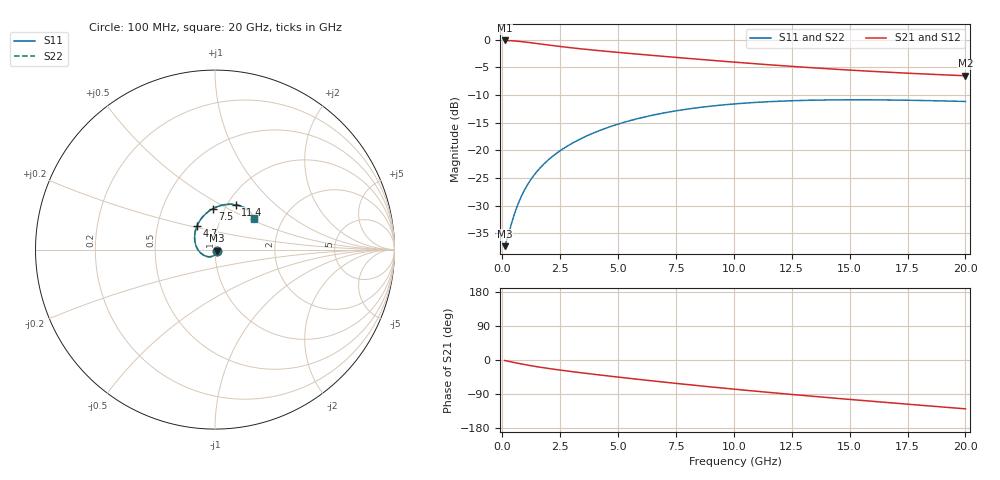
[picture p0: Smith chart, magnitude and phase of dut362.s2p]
! Touchstone file exported from HFSS 2024.1.0
!  File:  C:/UserFiles/LocalFiles/RDL_TSV_Batchsim/temp_RDL_TSV_362_1779640603.aedt
!  Generated:  12:50:28 AM May 25, 2026
!  Design:  RDL_TSV
!  Project:  temp_RDL_TSV_362_1779640603
!  Setup:  Setup1
!  Solution:  Sweep
! Variables:
!  dtsv = 14.7um
!  hbump = 3um
!  htsv = 75.14um
!  ldown = 240.58um
!  lrdl = 135.8um
!  p = 40
!  p1 = 44.02um
!  rhole = 10um
!  subl = 1264.94um
!  t = 450um
!  tdown = 4.21um
!  trdl = 2.51um
!  viad = 10um
!  wdown = 10.22um
!  wrdl = 11.6um
!  xbump = 18um
# GHz S MA R 50.000000
! Terminal data exported
! Port[1] = TM1_1_T1
! Port[2] = TM1_4_T1
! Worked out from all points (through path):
!   200 points, 100 MHz to 20 GHz, reference 50 ohm
!   highest |S21| = -0.12 dB at 100 MHz (marker M1); lowest = -6.5 dB at 20 GHz (marker M2)
!   group delay of S21, straight-line fit = 16.8 ps
!   lowest |S11| = -37.4 dB at 100 MHz (marker M3), VSWR 1.03, Z = 51.3 - j0.552 ohm
!   |S11| at or under -10 dB: start of sweep to end of sweep
!   |S22| runs from -37.4 to -10.8 dB; largest |S21 - S12| = 1.8e-13
!   S11 on the Smith chart (normalised r, x): 100 MHz: 1.03, -0.01; 4.7 GHz: 0.79, +0.21; 7.5 GHz: 0.88, +0.42; 11.4 GHz: 1.09, +0.59; 20 GHz: 1.43, +0.54
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0.1  0.01355 -23.4  0.9867 -1.3  0.9867 -1.3  0.01355 -23.4
! Gamma 0 0 0 0
! Port Impedance 50 0 50 0
0.2  0.01557 -43.5  0.9856 -2.7  0.9856 -2.7  0.01557 -43.5
0.5  0.02556 -83.1  0.9778 -6.5  0.9778 -6.5  0.02556 -83.1
0.7  0.03337 -100.2  0.9696 -9.0  0.9696 -9.0  0.03337 -100.2
0.8  0.03734 -107.5  0.9649 -10.2  0.9649 -10.2  0.03734 -107.5
1  0.04527 -120.2  0.9545 -12.5  0.9545 -12.5  0.04527 -120.3
1.3  0.05689 -136.6  0.9375 -15.7  0.9375 -15.7  0.0569 -136.6
1.7  0.0717 -154.8  0.9139 -19.7  0.9139 -19.7  0.07172 -154.9
2.2  0.08915 -173.7  0.8856 -24.2  0.8856 -24.2  0.0892 -173.8
2.8  0.1089 167.8  0.8551 -29.1  0.8551 -29.1  0.1089 167.7
3.5  0.1305 150.4  0.8243 -34.4  0.8243 -34.4  0.1307 150.4
4.7  0.1647 127.7  0.7794 -43.0  0.7794 -43.0  0.1649 127.7
5.7  0.19 113.2  0.7465 -49.9  0.7465 -49.9  0.1903 113.2
6.8  0.2142 100.3  0.7131 -57.2  0.7131 -57.2  0.2146 100.3
7.5  0.2276 93.3  0.693 -61.7  0.693 -61.7  0.228 93.3
8.7  0.2468 83.0  0.6606 -69.2  0.6606 -69.2  0.2472 83.0
10.1  0.2637 73.0  0.6259 -77.5  0.6259 -77.5  0.2642 73.0
11.4  0.2747 65.4  0.597 -84.9  0.597 -84.9  0.2752 65.4
13.4  0.2841 55.8  0.5582 -95.7  0.5582 -95.7  0.2847 55.8
15  0.2865 49.9  0.5321 -104.0  0.5321 -104.0  0.2871 49.9
16.7  0.2854 44.9  0.5084 -112.6  0.5084 -112.6  0.286 44.9
20  0.2766 38.7  0.4729 -128.9  0.4729 -128.9  0.2773 38.7
